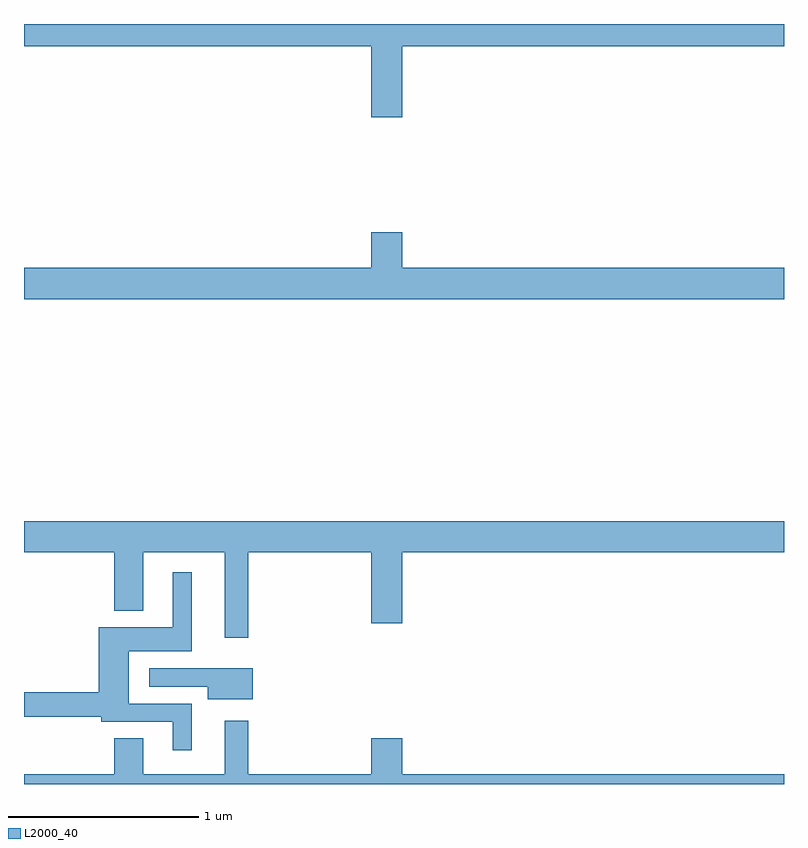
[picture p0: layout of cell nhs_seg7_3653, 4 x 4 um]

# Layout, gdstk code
import gdstk
lib = gdstk.Library(unit=1e-6, precision=1e-09)
def P(c, l, *ps):  # polygons
    for p in ps: c.add(gdstk.Polygon(p, *l))
L2000_40 = (2000, 40)

nhs_seg7_3653 = lib.new_cell('nhs_seg7_3653')
P(nhs_seg7_3653, L2000_40, [(344.992,1065.884),(347,1065.884),(347,1066),(343,1066),(343,1065.884),(344.828,1065.884),(344.828,1065.51),(344.992,1065.51)],
  [(347,1064.716),(344.992,1064.716),(344.992,1064.905),(344.828,1064.905),(344.828,1064.716),(343,1064.716),(343,1064.552),(347,1064.552)],
  [(343,1063.22),(343.475,1063.22),(343.475,1062.911),(343.627,1062.911),(343.627,1063.22),(344.057,1063.22),(344.057,1062.771),(344.179,1062.771),(344.179,1063.22),(344.828,1063.22),(344.828,1062.846),(344.992,1062.846),(344.992,1063.22),(347,1063.22),(347,1063.384),(343,1063.384)],
  [(343.882,1062.423),(343.552,1062.423),(343.552,1062.698),(343.882,1062.698),(343.882,1063.114),(343.784,1063.114),(343.784,1062.826),(343.394,1062.826),(343.394,1062.482),(343,1062.482),(343,1062.354),(343.406,1062.354),(343.406,1062.327),(343.784,1062.327),(343.784,1062.177),(343.882,1062.177)],
  [(344.203,1062.61),(343.971,1062.61),(343.971,1062.609),(343.659,1062.609),(343.659,1062.513),(343.967,1062.513),(343.967,1062.446),(344.203,1062.446)],
  [(344.992,1062.241),(344.828,1062.241),(344.828,1062.052),(344.179,1062.052),(344.179,1062.334),(344.057,1062.334),(344.057,1062.052),(343.627,1062.052),(343.627,1062.242),(343.475,1062.242),(343.475,1062.052),(343,1062.052),(343,1062),(347,1062),(347,1062.052),(344.992,1062.052)])

lib.write_gds('nhs_seg7_3653.gds')
